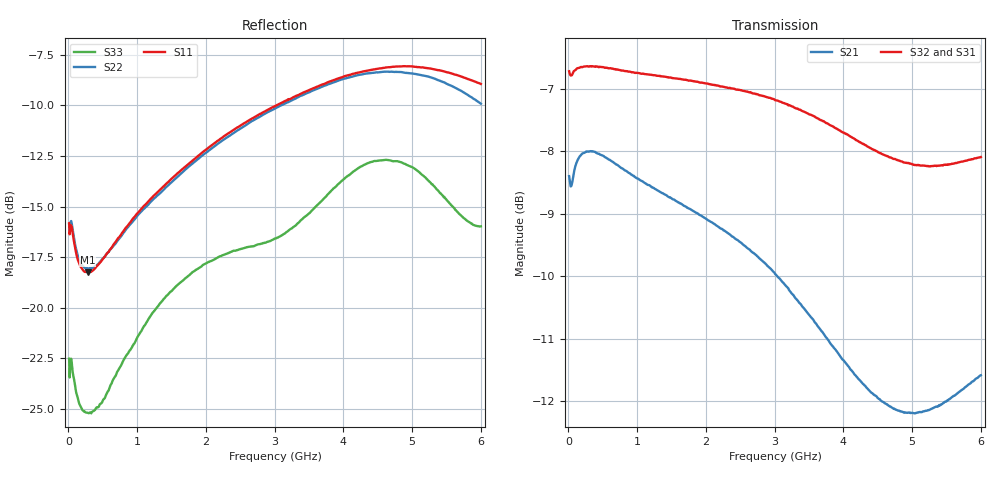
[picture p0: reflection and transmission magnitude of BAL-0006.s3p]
! MARKI MICROWAVE INC.
! Email:  info@markimicrowave.com  Phone:  408-778-4200
! Model Number:  BAL-0006  Date:  06/12
! Filename:		BAL-0006.S3P  Version: 1.0
! Description:  3-port S-parameter data for Balun BAL-0006
! Frequency Range: 	10 MHz to 6 GHz
! Port Configuration:	PORT 1: OUTPUT (0 DEGREE), PORT 2: OUTPUT(180 DEGREE), PORT 3: COMMON
! S3P File: Measurements: Mag<S11> Ang<S11> Mag<S12> Ang<S12> Mag<S13> Ang<S13>! row 1
!  Mag<S21> Ang<S21> Mag<S22> Ang<S22> Mag<S23> Ang<S23>! row 2
!  Mag<S31> Ang<S31> Mag<S32> Ang<S32> Mag<S33> Ang<S33>! row 3
# Hz S  dB  R 50
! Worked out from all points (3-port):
!   801 points, 10 MHz to 6 GHz, reference 50 ohm
!   strongest paths, dB at 10 MHz, 1.508 GHz, 3.005 GHz, 4.503 GHz, 6 GHz:
!     S32: -6.7, -6.8, -7.2, -8.0, -8.1
!     S31: -6.7, -6.9, -7.2, -8.0, -8.1
!     S21: -8.4, -8.8, -10.0, -11.9, -11.6
!   lowest |S11| = -18.3 dB at 279.6 MHz (marker M1), VSWR 1.28, Z = 39.2 + j1.33 ohm
!   |S11| at or under -10 dB: start of sweep to 3.025 GHz
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1e7  -15.83 159.7  -8.41 4.6  -6.67 -0.4
     -8.40 4.3  -15.88 160.3  -6.72 179.2
     -6.67 0.7  -6.72 -179.5  -22.52 154.3
2.7955e8  -18.26 172.1  -8.00 -16.8  -6.60 -28.2
          -8.00 -16.8  -18.06 170.1  -6.64 151.9
          -6.60 -28.2  -6.64 151.9  -25.20 143.8
9.684e8  -15.49 161.1  -8.40 -61.2  -6.74 -98.0
         -8.41 -61.3  -15.61 155.7  -6.75 82.0
         -6.74 -98.0  -6.74 82.1  -21.71 69.8
1.732125e9  -12.94 127.5  -8.89 -106.9  -6.89 -174.0
            -8.90 -106.8  -13.08 119.8  -6.87 5.7
            -6.89 -174.0  -6.86 5.7  -18.46 -25.0
2.428462e9  -11.15 92.1  -9.39 -147.6  -7.04 117.0
            -9.40 -147.7  -11.31 81.9  -7.00 -63.7
            -7.05 117.0  -7.01 -63.6  -17.19 -117.9
3.005e9  -10.04 60.3  -9.95 178.9  -7.22 60.0
         -9.96 178.9  -10.16 48.6  -7.18 -120.9
         -7.22 60.1  -7.18 -120.9  -16.59 157.6
3.69385e9  -8.97 21.1  -10.87 140.6  -7.52 -7.8
           -10.89 140.6  -9.07 7.6  -7.52 171.0
           -7.53 -7.8  -7.51 171.1  -14.69 52.7
4.495012e9  -8.19 -26.1  -11.92 100.9  -7.94 -85.6
            -11.94 100.9  -8.37 -41.7  -8.02 93.5
            -7.95 -85.5  -8.00 93.6  -12.74 -58.8
5.266225e9  -8.18 -71.9  -12.12 65.7  -8.18 -159.4
            -12.13 65.7  -8.61 -89.7  -8.25 20.7
            -8.18 -159.4  -8.24 20.8  -13.82 -166.8
6e9  -8.94 -111.2  -11.57 29.2  -8.13 129.8
     -11.58 29.2  -9.92 -131.0  -8.09 -49.4
     -8.14 129.8  -8.09 -49.4  -15.98 71.7
